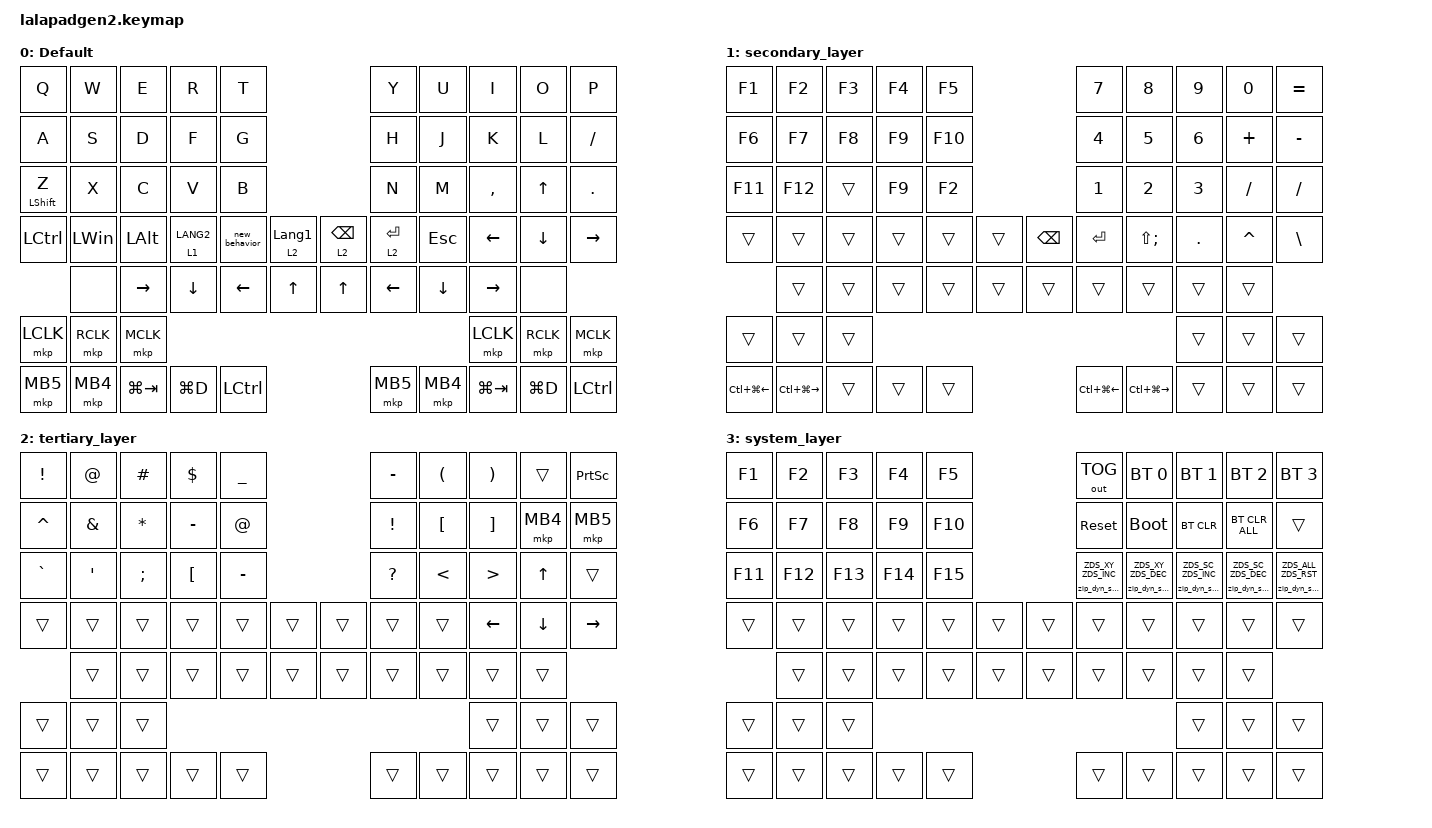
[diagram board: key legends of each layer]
#include <input/processors.dtsi>
#include <dt-bindings/zmk/zip_dynamic_scale.h>
#include <behaviors.dtsi>
#include <dt-bindings/zmk/bt.h>
#include <dt-bindings/zmk/keys.h>
#include <dt-bindings/zmk/outputs.h>
#include <dt-bindings/zmk/pointing.h>

#define DEFAULT_LAYER   0
#define SECONDARY_LAYER 1
#define TERTIARY_LAYER  2
#define SYSTEM_LAYER    3

&mt { quick-tap-ms = <200>; };

&lt { quick-tap-ms = <200>; };

/ {
    behaviors {
        zip_dyn_scale: zip_dyn_scale {
            compatible = "zmk,behavior-zip-dynamic-scale";
            #binding-cells = <2>;
        };

        zip_dyn_scale_set: zip_dyn_scale_set {
            compatible = "zmk,behavior-zip-dynamic-scale-set";
            #binding-cells = <2>;
        };

        mt2: mod_tap2 {
            compatible = "zmk,behavior-hold-tap";
            #binding-cells = <2>;
            flavor = "tap-preferred";
            tapping-term-ms = <200>;
            quick-tap-ms = <200>;
            require-prior-idle-ms = <125>;
            bindings = <&kp>, <&kp>;
        };

        tap_dance_layer_1and2: tap_dance_layer_1and2 {
            compatible = "zmk,behavior-tap-dance";
            label = "td_mo12";
            #binding-cells = <0>;
            bindings = <&mo 1>, <&mo 2>;
        };

        new_behavior: new_behavior {
            compatible = "zmk,behavior-tap-dance";
            label = "NEW_BEHAVIOR";
            #binding-cells = <0>;
            bindings = <&mt LEFT_SHIFT SPACE>, <&kp SPACE>;
        };
    };

    combos {
        compatible = "zmk,combos";

        CONBO_ESC {
            bindings = <&kp ESCAPE>;
            key-positions = <0 1>;
        };

        COMBO_TAB {
            bindings = <&kp TAB>;
            key-positions = <10 11>;
        };

        up {
            bindings = <&kp DOWN_ARROW>;
            key-positions = <39 41>;
        };

        DE {
            bindings = <&kp DEL>;
            key-positions = <8 9>;
        };
    };

    keymap {
        compatible = "zmk,keymap";

        DEFAULT_LAYER {
            display-name = "Default";
            bindings = <
&kp Q              &kp W      &kp E         &kp R        &kp T                                             &kp Y         &kp U       &kp I           &kp O           &kp P
&kp A              &kp S      &kp D         &kp F        &kp G                                             &kp H         &kp J       &kp K           &kp L           &kp SLASH
&mt2 LEFT_SHIFT Z  &kp X      &kp C         &kp V        &kp B                                             &kp N         &kp M       &kp COMMA       &kp UP_ARROW    &kp DOT
&kp LCTRL          &kp LWIN   &kp LEFT_ALT  &lt 1 LANG2  &new_behavior  &lt 2 LANGUAGE_1  &lt 2 BACKSPACE  &lt 2 RETURN  &kp ESCAPE  &kp LEFT_ARROW  &kp DOWN_ARROW  &kp RIGHT_ARROW
                   &none      &kp RIGHT     &kp DOWN     &kp LEFT       &kp UP            &kp UP           &kp LEFT      &kp DOWN    &kp RIGHT       &none
&mkp LCLK          &mkp RCLK  &mkp MCLK                                                                                              &mkp LCLK       &mkp RCLK       &mkp MCLK
&mkp MB5           &mkp MB4   &kp LG(TAB)   &kp LG(D)    &kp LCTRL                                         &mkp MB5      &mkp MB4    &kp LG(TAB)     &kp LG(D)       &kp LCTRL
            >;
        };

        SECONDARY_LAYER {
            display-name = "secondary_layer";
            bindings = <
&kp F1            &kp F2             &kp F3  &kp F4  &kp F5                          &kp NUMBER_7      &kp NUMBER_8       &kp NUMBER_9  &kp NUMBER_0  &kp EQUAL
&kp F6            &kp F7             &kp F8  &kp F9  &kp F10                         &kp NUMBER_4      &kp NUMBER_5       &kp NUMBER_6  &kp PLUS      &kp MINUS
&kp F11           &kp F12            &trans  &kp F9  &kp F2                          &kp NUMBER_1      &kp NUMBER_2       &kp NUMBER_3  &kp SLASH     &kp SLASH
&trans            &trans             &trans  &trans  &trans   &trans  &kp BACKSPACE  &kp RET           &kp LS(SEMI)       &kp PERIOD    &kp CARET     &kp BACKSLASH
                  &trans             &trans  &trans  &trans   &trans  &trans         &trans            &trans             &trans        &trans
&trans            &trans             &trans                                                                               &trans        &trans        &trans
&kp LC(LG(LEFT))  &kp LC(LG(RIGHT))  &trans  &trans  &trans                          &kp LC(LG(LEFT))  &kp LC(LG(RIGHT))  &trans        &trans        &trans
            >;
        };

        TERTIARY_LAYER {
            display-name = "tertiary_layer";
            bindings = <
&kp EXCLAMATION  &kp AT_SIGN    &kp HASH      &kp DOLLAR        &kp UNDERSCORE                  &kp MINUS     &kp LEFT_PARENTHESIS  &kp RIGHT_PARENTHESIS  &trans          &kp PRINTSCREEN
&kp CARET        &kp AMPERSAND  &kp ASTERISK  &kp MINUS         &kp AT                          &kp EXCL      &kp LEFT_BRACKET      &kp RIGHT_BRACKET      &mkp MB4        &mkp MB5
&kp GRAVE        &kp SQT        &kp SEMI      &kp LEFT_BRACKET  &kp MINUS                       &kp QUESTION  &kp LESS_THAN         &kp GREATER_THAN       &kp UP_ARROW    &trans
&trans           &trans         &trans        &trans            &trans          &trans  &trans  &trans        &trans                &kp LEFT_ARROW         &kp DOWN_ARROW  &kp RIGHT
                 &trans         &trans        &trans            &trans          &trans  &trans  &trans        &trans                &trans                 &trans
&trans           &trans         &trans                                                                                              &trans                 &trans          &trans
&trans           &trans         &trans        &trans            &trans                          &trans        &trans                &trans                 &trans          &trans
            >;
        };

        SYSTEM_LAYER {
            display-name = "system_layer";
            bindings = <
&kp F1   &kp F2   &kp F3   &kp F4   &kp F5                   &out OUT_TOG                   &bt BT_SEL 0                   &bt BT_SEL 1                   &bt BT_SEL 2                   &bt BT_SEL 3
&kp F6   &kp F7   &kp F8   &kp F9   &kp F10                  &sys_reset                     &bootloader                    &bt BT_CLR                     &bt BT_CLR_ALL                 &trans
&kp F11  &kp F12  &kp F13  &kp F14  &kp F15                  &zip_dyn_scale ZDS_XY ZDS_INC  &zip_dyn_scale ZDS_XY ZDS_DEC  &zip_dyn_scale ZDS_SC ZDS_INC  &zip_dyn_scale ZDS_SC ZDS_DEC  &zip_dyn_scale ZDS_ALL ZDS_RST
&trans   &trans   &trans   &trans   &trans   &trans  &trans  &trans                         &trans                         &trans                         &trans                         &trans
         &trans   &trans   &trans   &trans   &trans  &trans  &trans                         &trans                         &trans                         &trans
&trans   &trans   &trans                                                                                                   &trans                         &trans                         &trans
&trans   &trans   &trans   &trans   &trans                   &trans                         &trans                         &trans                         &trans                         &trans
            >;
        };
    };

    conditional_layers {
        compatible = "zmk,conditional-layers";

        Cond_Syslayer {
            if-layers = <1 2>;
            then-layer = <3>;
        };
    };
};
